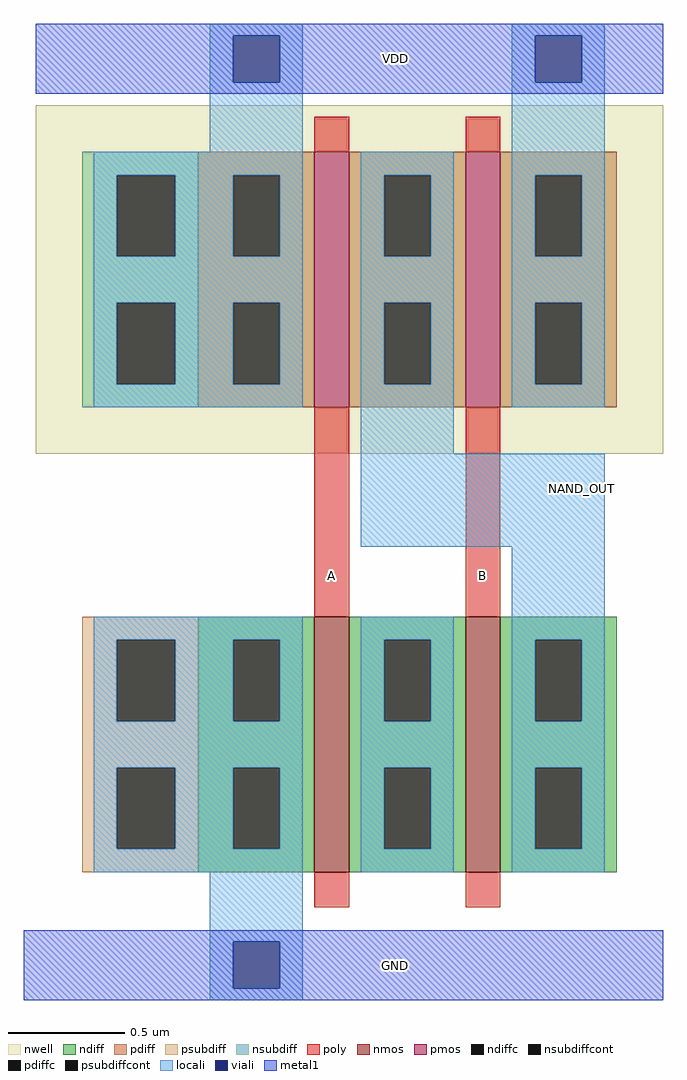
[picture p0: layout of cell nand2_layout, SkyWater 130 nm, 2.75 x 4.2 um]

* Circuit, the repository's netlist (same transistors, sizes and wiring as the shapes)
* NGSPICE file created from nand2_layout.ext - technology: sky130A

.subckt nand2_layout A B NAND_OUT VDD GND
X0 a_70_n310# A GND GND sky130_fd_pr__nfet_01v8 ad=0.275 pd=1.6 as=0.55 ps=3.2 w=1.1 l=0.15
**devattr s=22000,640 d=11000,320
X1 NAND_OUT B a_70_n310# GND sky130_fd_pr__nfet_01v8 ad=0.55 pd=3.2 as=0.275 ps=1.6 w=1.1 l=0.15
**devattr s=11000,320 d=22000,640
X2 NAND_OUT A VDD VDD sky130_fd_pr__pfet_01v8 ad=0.275 pd=1.6 as=0.55 ps=3.2 w=1.1 l=0.15
**devattr s=22000,640 d=11000,320
X3 VDD B NAND_OUT VDD sky130_fd_pr__pfet_01v8 ad=0.55 pd=3.2 as=0.275 ps=1.6 w=1.1 l=0.15
**devattr s=11000,320 d=22000,640
.ends

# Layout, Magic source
magic
tech sky130A
<< nwell >>
rect -100 25 170 175
<< nmos >>
rect 20 -155 35 -45
rect 85 -155 100 -45
<< pmos >>
rect 20 45 35 155
rect 85 45 100 155
<< ndiff >>
rect -30 -55 20 -45
rect -30 -90 -15 -55
rect 5 -90 20 -55
rect -30 -110 20 -90
rect -30 -145 -15 -110
rect 5 -145 20 -110
rect -30 -155 20 -145
rect 35 -55 85 -45
rect 35 -90 50 -55
rect 70 -90 85 -55
rect 35 -110 85 -90
rect 35 -145 50 -110
rect 70 -145 85 -110
rect 35 -155 85 -145
rect 100 -55 150 -45
rect 100 -90 115 -55
rect 135 -90 150 -55
rect 100 -110 150 -90
rect 100 -145 115 -110
rect 135 -145 150 -110
rect 100 -155 150 -145
<< pdiff >>
rect -30 145 20 155
rect -30 110 -15 145
rect 5 110 20 145
rect -30 90 20 110
rect -30 55 -15 90
rect 5 55 20 90
rect -30 45 20 55
rect 35 145 85 155
rect 35 110 50 145
rect 70 110 85 145
rect 35 90 85 110
rect 35 55 50 90
rect 70 55 85 90
rect 35 45 85 55
rect 100 145 150 155
rect 100 110 115 145
rect 135 110 150 145
rect 100 90 150 110
rect 100 55 115 90
rect 135 55 150 90
rect 100 45 150 55
<< ndiffc >>
rect -15 -90 5 -55
rect -15 -145 5 -110
rect 50 -90 70 -55
rect 50 -145 70 -110
rect 115 -90 135 -55
rect 115 -145 135 -110
<< pdiffc >>
rect -15 110 5 145
rect -15 55 5 90
rect 50 110 70 145
rect 50 55 70 90
rect 115 110 135 145
rect 115 55 135 90
<< psubdiff >>
rect -80 -55 -30 -45
rect -80 -90 -65 -55
rect -40 -90 -30 -55
rect -80 -110 -30 -90
rect -80 -145 -65 -110
rect -40 -145 -30 -110
rect -80 -155 -30 -145
<< nsubdiff >>
rect -80 145 -30 155
rect -80 110 -65 145
rect -40 110 -30 145
rect -80 90 -30 110
rect -80 55 -65 90
rect -40 55 -30 90
rect -80 45 -30 55
<< psubdiffcont >>
rect -65 -90 -40 -55
rect -65 -145 -40 -110
<< nsubdiffcont >>
rect -65 110 -40 145
rect -65 55 -40 90
<< poly >>
rect 20 155 35 170
rect 85 155 100 170
rect 20 -45 35 45
rect 85 -45 100 45
rect 20 -170 35 -155
rect 85 -170 100 -155
<< locali >>
rect -25 205 15 210
rect -25 185 -15 205
rect 5 185 15 205
rect -25 155 15 185
rect 105 205 145 210
rect 105 185 115 205
rect 135 185 145 205
rect -75 145 15 155
rect -75 110 -65 145
rect -40 110 -15 145
rect 5 110 15 145
rect -75 90 15 110
rect -75 55 -65 90
rect -40 55 -15 90
rect 5 55 15 90
rect -75 45 15 55
rect 40 145 80 155
rect 40 110 50 145
rect 70 110 80 145
rect 40 90 80 110
rect 40 55 50 90
rect 70 55 80 90
rect 40 25 80 55
rect 105 145 145 185
rect 105 110 115 145
rect 135 110 145 145
rect 105 90 145 110
rect 105 55 115 90
rect 135 55 145 90
rect 105 45 145 55
rect 40 -15 145 25
rect -75 -55 15 -45
rect -75 -90 -65 -55
rect -40 -90 -15 -55
rect 5 -90 15 -55
rect -75 -110 15 -90
rect -75 -145 -65 -110
rect -40 -145 -15 -110
rect 5 -145 15 -110
rect -75 -155 15 -145
rect 40 -55 80 -45
rect 40 -90 50 -55
rect 70 -90 80 -55
rect 40 -110 80 -90
rect 40 -145 50 -110
rect 70 -145 80 -110
rect 40 -155 80 -145
rect 105 -55 145 -15
rect 105 -90 115 -55
rect 135 -90 145 -55
rect 105 -110 145 -90
rect 105 -145 115 -110
rect 135 -145 145 -110
rect 105 -155 145 -145
rect -25 -185 15 -155
rect -25 -205 -15 -185
rect 5 -205 15 -185
rect -25 -210 15 -205
<< viali >>
rect -15 185 5 205
rect 115 185 135 205
rect -15 -205 5 -185
<< metal1 >>
rect -100 205 170 210
rect -100 185 -15 205
rect 5 185 115 205
rect 135 185 170 205
rect -100 180 170 185
rect -105 -185 170 -180
rect -105 -205 -15 -185
rect 5 -205 170 -185
rect -105 -210 170 -205
<< labels >>
flabel poly 25 -30 30 -25 0 FreeSans 80 0 10 -12 A
port 2 nsew
flabel poly 90 -30 95 -25 0 FreeSans 80 0 36 -12 B
port 3 nsew
flabel locali 130 5 140 15 0 FreeSans 80 0 52 2 NAND_OUT
port 4 nsew
flabel metal1 50 190 60 200 0 FreeSans 80 0 20 76 VDD
port 5 nsew
flabel metal1 50 -200 60 -190 0 FreeSans 80 0 20 -8 GND
port 6 nsew
<< end >>
